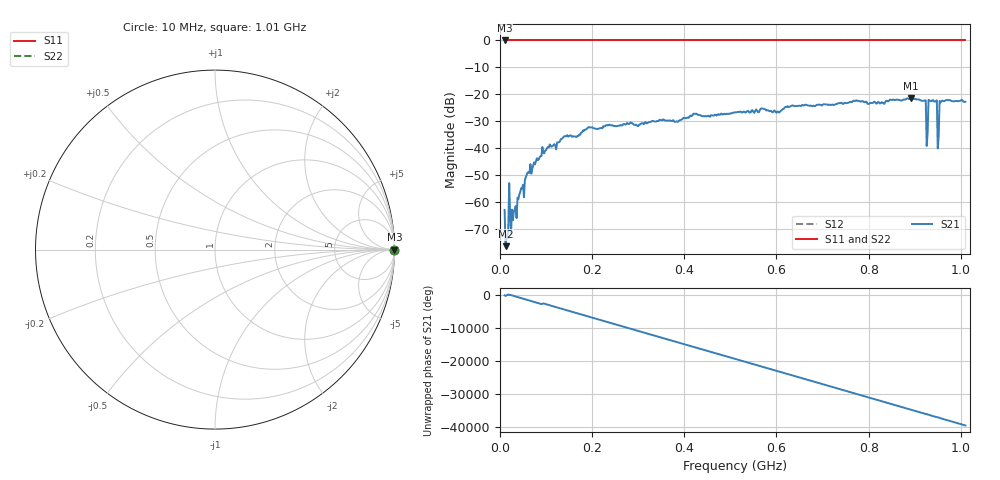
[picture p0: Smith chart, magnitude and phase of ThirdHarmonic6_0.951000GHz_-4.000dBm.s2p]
! 8/16/2025 6:52:30 AM
! C:\ANRITSUVNA\TEMP\TEMP.S2P
! CHANNEL.1
! TR.MEASUREMENT
! RAW.DATA
! RF.CORRECTION.OFF
! AVERAGING.OFF
! IF.BANDWIDTH: 5KHZ
! SWEEPTYPE:  FREQ.SWEEP(Linear)
! Reference Plane Port Info
! PORT:  PORT1  PORT2
! DISTANCE:  0  m  0  m
! TIME:  0  s  0  s
! PHASE.OFFSET:  0  deg.  0  deg.
! LOSS:  0  dB  0  dB
! REF.LOSS:  0  dB  0  dB
! REF.FREQ:  0  Hz  0  Hz
! Power Info
! POWER:  -20  dBm  -20  dBm
! EFF.POWER:  -20  dBm  -20  dBm
! SOURCE.ATTEN:  0  dB  0  dB
! TEST.ATTEN:  0  dB  0  dB
# GHZ S RI R 50.0
! FREQ.GHZ  S11RE  S11IM  S21RE  S21IM  S12RE  S12IM  S22RE  S22IM
!; PortSelection: Port_12
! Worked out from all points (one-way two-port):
!   501 points, 10 MHz to 1.01 GHz, reference 50 ohm
!   highest |S21| = -21.50 dB at 892 MHz (marker M1); lowest = -76.5 dB at 12 MHz (marker M2)
!   lowest |S11| = 0.0 dB at 10 MHz (marker M3)
!   |S11| at or under -10 dB: nowhere
!   |S22| runs from 0.0 to 0.0 dB; largest |S21 - S12| = 1.1
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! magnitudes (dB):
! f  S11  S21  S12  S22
! 10 MHz  0.0  -63.0  0.0  0.0
! 12 MHz  0.0  -76.5  0.0  0.0
! 14 MHz  0.0  -72.2  0.0  0.0
! 22 MHz  0.0  -65.0  0.0  0.0
! 32 MHz  0.0  -63.0  0.0  0.0
! 62 MHz  0.0  -49.0  0.0  0.0
! 90 MHz  0.0  -42.9  0.0  0.0
! 178 MHz  0.0  -34.1  0.0  0.0
! 344 MHz  0.0  -29.9  0.0  0.0
! 510 MHz  0.0  -26.7  0.0  0.0
! 678 MHz  0.0  -24.5  0.0  0.0
! 844 MHz  0.0  -22.4  0.0  0.0
! 892 MHz  0.0  -21.5  0.0  0.0
! 920 MHz  0.0  -22.4  0.0  0.0
! 924 MHz  0.0  -22.3  0.0  0.0
! 930 MHz  0.0  -22.1  0.0  0.0
! 934 MHz  0.0  -22.5  0.0  0.0
! 944 MHz  0.0  -22.7  0.0  0.0
! 948 MHz  0.0  -22.3  0.0  0.0
! 954 MHz  0.0  -22.5  0.0  0.0
! 958 MHz  0.0  -22.5  0.0  0.0
! 1.01 GHz  0.0  -22.8  0.0  0.0
